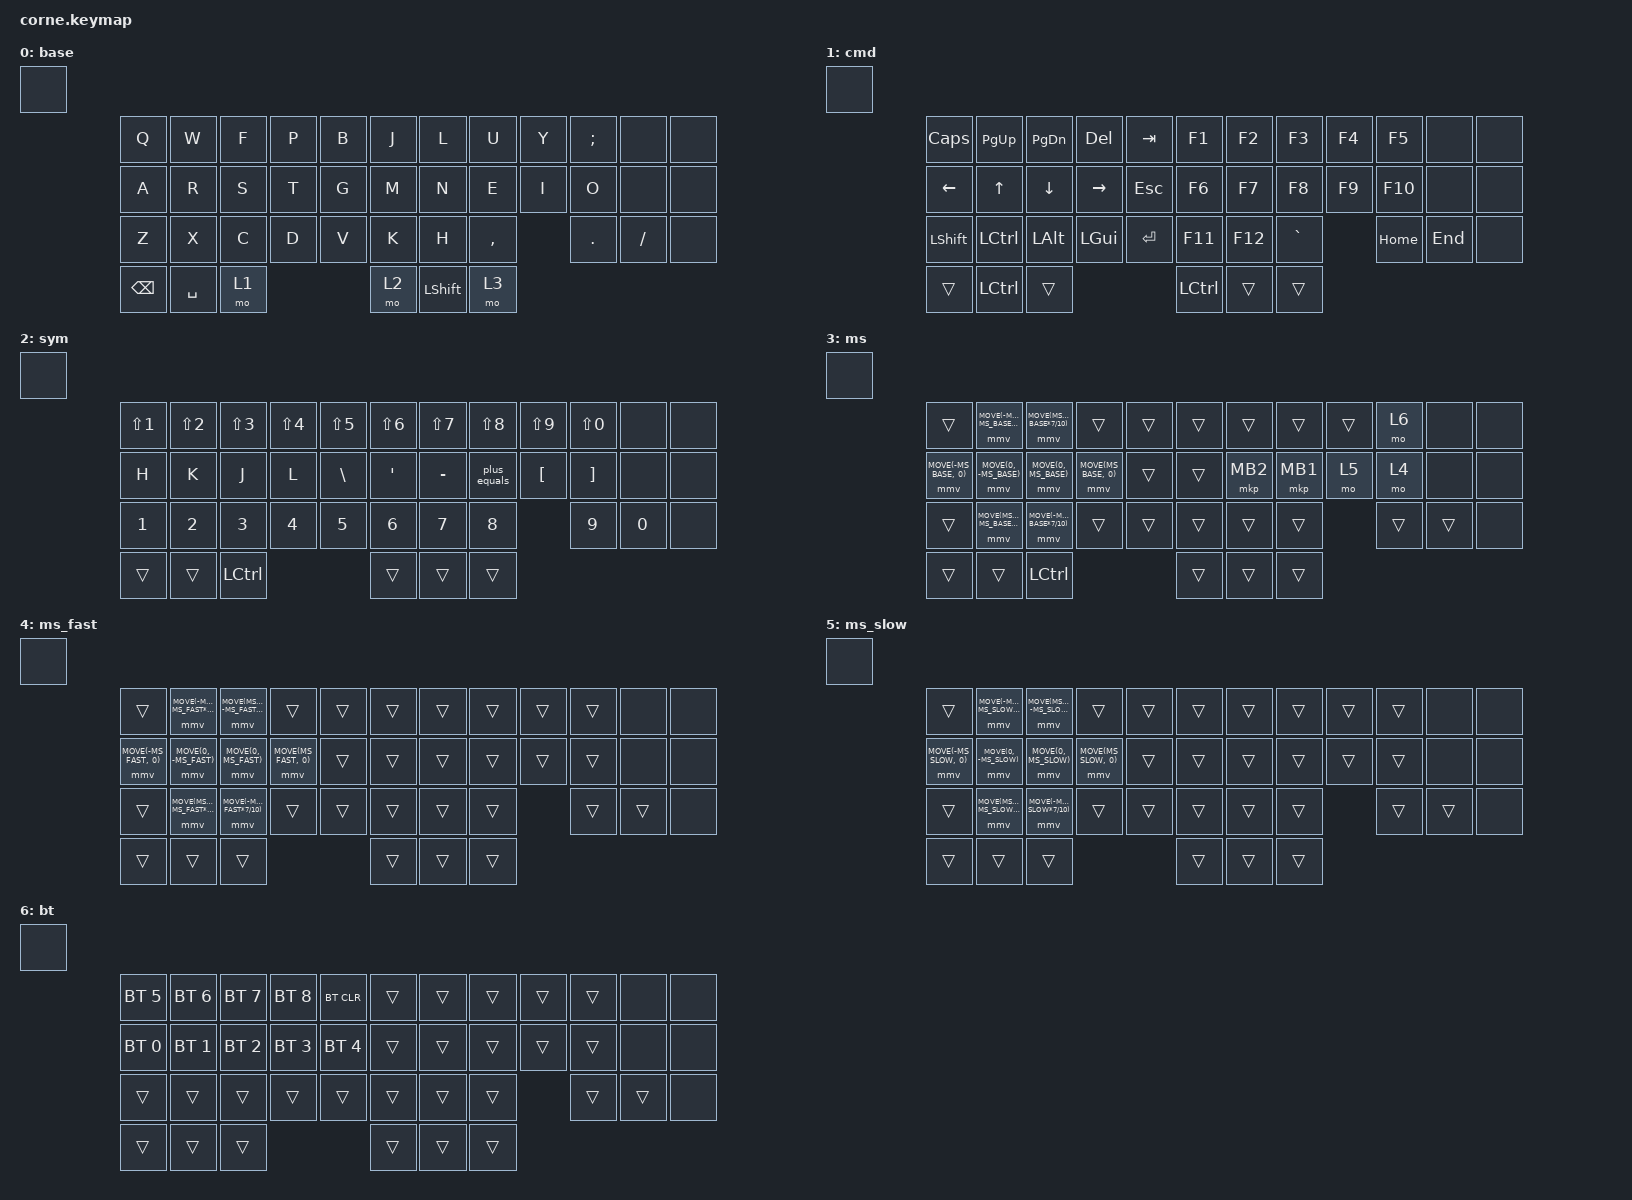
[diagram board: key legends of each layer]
/*
 * Copyright (c) 2020 The ZMK Contributors
 *
 * SPDX-License-Identifier: MIT
 */

#include <behaviors.dtsi>
#include <dt-bindings/zmk/keys.h>
#include <dt-bindings/zmk/bt.h>

#include <dt-bindings/zmk/pointing.h>

#include "keymap.dtsi"
#define MS_BASE 500
#define MS_SLOW 200
#define MS_FAST 1000

/ {
    macros {
        pass0: pass0 {
            compatible = "zmk,behavior-macro";
            #binding-cells = <0>;
            wait-ms = <5>;
            tap-ms = <5>;
            bindings = <&macro_press &kp LSHFT>, <&macro_tap &kp B>, <&macro_release &kp LSHFT>, <&macro_tap &kp T &kp C &kp Y &kp W &kp T &kp S>;
        };
        pass1: pass1 {
            compatible = "zmk,behavior-macro";
            #binding-cells = <0>;
            wait-ms = <5>;
            tap-ms = <5>;
            bindings = <&macro_press &kp LSHFT>, <&macro_tap &kp B>, <&macro_release &kp LSHFT>, <&macro_tap &kp T &kp C &kp Y &kp W &kp T &kp S &kp N1 &kp N4 &kp N2 &kp N3>;
        };        
    };
    combos {
        compatible = "zmk,combos";
        combo_pass0 {
            timeout-ms = <50>;
            key-positions = <13 14 15 16>;
            bindings = <&pass0>;
        };
        combo_pass1 {
            timeout-ms = <50>;
            key-positions = <25 26 27 28>;
            bindings = <&pass1>;
        };
    };
    behaviors {
        plus_equals: plus_equals {
            compatible = "zmk,behavior-mod-morph";
            #binding-cells = <0>;
            bindings = <&kp PLUS>, <&kp EQUAL>;
            mods = <(MOD_LSFT|MOD_RSFT)>;
        };
    };
    keymap {
        compatible = "zmk,keymap";
        base {
            bindings = <&none        
                &kp Q &kp W &kp F &kp P &kp B           &kp J &kp L &kp U &kp Y &kp SEMI                 &none &none        
                &kp A &kp R &kp S &kp T &kp G           &kp M &kp N &kp E &kp I &kp O                    &none &none
                &kp Z &kp X &kp C &kp D &kp V           &kp K &kp H &kp COMMA &kp DOT &kp FSLH           &none 
                &kp BSPC &kp SPACE &mo 1              &mo 2 &kp LSHFT &mo 3
            >;
        };
        cmd {
            bindings = <&none    
                &kp CAPS &kp PG_UP &kp PG_DN &kp DEL &kp TAB         &kp F1 &kp F2 &kp F3 &kp F4 &kp F5                    &none &none 
                &kp LEFT &kp UP &kp DOWN &kp RIGHT &kp ESC           &kp F6 &kp F7 &kp F8 &kp F9 &kp F10                   &none &none  
                &kp LSHFT &kp LCTRL &kp LALT &kp LGUI &kp ENTER      &kp F11 &kp F12 &kp GRAVE &kp HOME &kp END            &none
                &trans &kp LCTRL &trans      &kp LCTRL &trans &trans
            >;
        };
        sym {
            bindings = <&none    
                &kp LS(N1) &kp LS(N2) &kp LS(N3) &kp LS(N4) &kp LS(N5)       &kp LS(N6) &kp LS(N7) &kp LS(N8)   &kp LS(N9) &kp LS(N0)         &none &none
                &kp H      &kp K      &kp J      &kp L      &kp BSLH         &kp SQT    &kp MINUS  &plus_equals &kp LBKT   &kp RBKT           &none &none
                &kp N1     &kp N2     &kp N3     &kp N4     &kp N5           &kp N6     &kp N7     &kp N8       &kp N9     &kp N0             &none
                &trans &trans &kp LCTRL           &trans &trans &trans
            >;
        };
        ms {
            bindings = <&none    
                &trans                 &mmv MOVE(-MS_BASE*7/10, MS_BASE*7/10) &mmv MOVE(MS_BASE*7/10,-MS_BASE*7/10)  &trans                &trans           &trans &trans &trans &trans &mo 6                    &none &none
                &mmv MOVE(-MS_BASE, 0) &mmv MOVE(0, -MS_BASE)                 &mmv MOVE(0, MS_BASE)                  &mmv MOVE(MS_BASE, 0) &trans           &trans &mkp MB2 &mkp MB1 &mo 5 &mo 4                 &none &none
                &trans                 &mmv MOVE(MS_BASE*7/10, MS_BASE*7/10)  &mmv MOVE(-MS_BASE*7/10,-MS_BASE*7/10) &trans                &trans           &trans &trans &trans &trans &trans                   &none
                &trans &trans &kp LCTRL           &trans &trans &trans
            >;
        };
        ms_fast {
            bindings = <&none    
                &trans                 &mmv MOVE(-MS_FAST*7/10, MS_FAST*7/10) &mmv MOVE(MS_FAST*7/10, -MS_FAST*7/10) &trans                &trans           &trans &trans &trans &trans &trans                   &none &none
                &mmv MOVE(-MS_FAST, 0) &mmv MOVE(0, -MS_FAST)                 &mmv MOVE(0, MS_FAST)                  &mmv MOVE(MS_FAST, 0) &trans           &trans &trans &trans &trans &trans                   &none &none
                &trans                 &mmv MOVE(MS_FAST*7/10, MS_FAST*7/10)  &mmv MOVE(-MS_FAST*7/10,-MS_FAST*7/10) &trans                &trans           &trans &trans &trans &trans &trans                   &none
                &trans &trans &trans           &trans &trans &trans
            >;
        };
        ms_slow {
            bindings = <&none    
                &trans                 &mmv MOVE(-MS_SLOW*7/10, MS_SLOW*7/10) &mmv MOVE(MS_SLOW*7/10, -MS_SLOW*7/10) &trans                &trans           &trans &trans &trans &trans &trans                   &none &none
                &mmv MOVE(-MS_SLOW, 0) &mmv MOVE(0, -MS_SLOW)                 &mmv MOVE(0, MS_SLOW)                  &mmv MOVE(MS_SLOW, 0) &trans           &trans &trans &trans &trans &trans                   &none &none
                &trans                 &mmv MOVE(MS_SLOW*7/10, MS_SLOW*7/10)  &mmv MOVE(-MS_SLOW*7/10,-MS_SLOW*7/10) &trans                &trans           &trans &trans &trans &trans &trans                   &none
                &trans &trans &trans           &trans &trans &trans
            >;
        };
        bt {
            bindings = <&none    
                &bt BT_SEL 5 &bt BT_SEL 6 &bt BT_SEL 7 &bt BT_SEL 8 &bt BT_CLR         &trans &trans &trans &trans &trans              &none &none   
                &bt BT_SEL 0 &bt BT_SEL 1 &bt BT_SEL 2 &bt BT_SEL 3 &bt BT_SEL 4       &trans &trans &trans &trans &trans              &none &none    
                &trans &trans &trans &trans &trans                                     &trans &trans &trans &trans &trans              &none
                &trans &trans &trans        &trans &trans &trans
            >;
        };

    };
};
